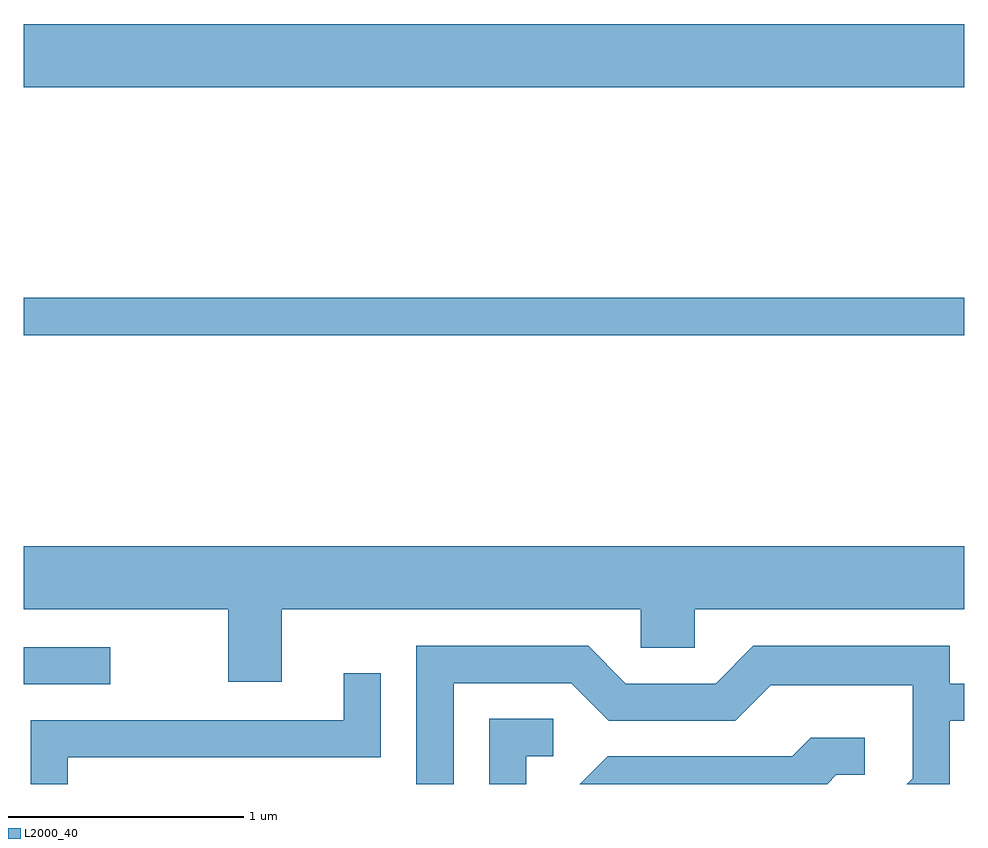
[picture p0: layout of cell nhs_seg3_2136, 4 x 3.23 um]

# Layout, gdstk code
import gdstk
lib = gdstk.Library(unit=1e-6, precision=1e-09)
def R(c, l, rs):  # rectangles x0, y0, x1, y1
    for r in rs: c.add(gdstk.rectangle(r[:2], r[2:], *l))
def P(c, l, *ps):  # polygons
    for p in ps: c.add(gdstk.Polygon(p, *l))
L2000_40 = (2000, 40)

nhs_seg3_2136 = lib.new_cell('nhs_seg3_2136')
R(nhs_seg3_2136, L2000_40, [(247.611,1172.316,247.978,1172.474), (247.611,1173.801,251.611,1173.959), (247.611,1174.856,251.611,1175.124)])
P(nhs_seg3_2136, L2000_40, [(248.709,1172.636),(250.236,1172.636),(250.236,1172.471),(250.464,1172.471),(250.464,1172.636),(251.611,1172.636),(251.611,1172.904),(247.611,1172.904),(247.611,1172.636),(248.481,1172.636),(248.481,1172.326),(248.709,1172.326)],
  [(249.439,1172.321),(249.939,1172.321),(250.099,1172.161),(250.637,1172.161),(250.787,1172.311),(251.391,1172.311),(251.391,1171.917),(251.366,1171.892),(251.549,1171.892),(251.549,1172.161),(251.611,1172.161),(251.611,1172.319),(251.549,1172.319),(251.549,1172.479),(250.714,1172.479),(250.554,1172.319),(250.172,1172.319),(250.012,1172.479),(249.281,1172.479),(249.281,1171.892),(249.439,1171.892)],
  [(247.799,1172.006),(249.129,1172.006),(249.129,1172.363),(248.971,1172.363),(248.971,1172.164),(247.641,1172.164),(247.641,1171.892),(247.799,1171.892)],
  [(249.749,1172.011),(249.863,1172.011),(249.863,1172.169),(249.591,1172.169),(249.591,1171.892),(249.749,1171.892)],
  [(251.067,1171.931),(251.188,1171.931),(251.188,1172.089),(250.959,1172.089),(250.879,1172.009),(250.094,1172.009),(249.976,1171.892),(251.028,1171.892)])

lib.write_gds('nhs_seg3_2136.gds')
